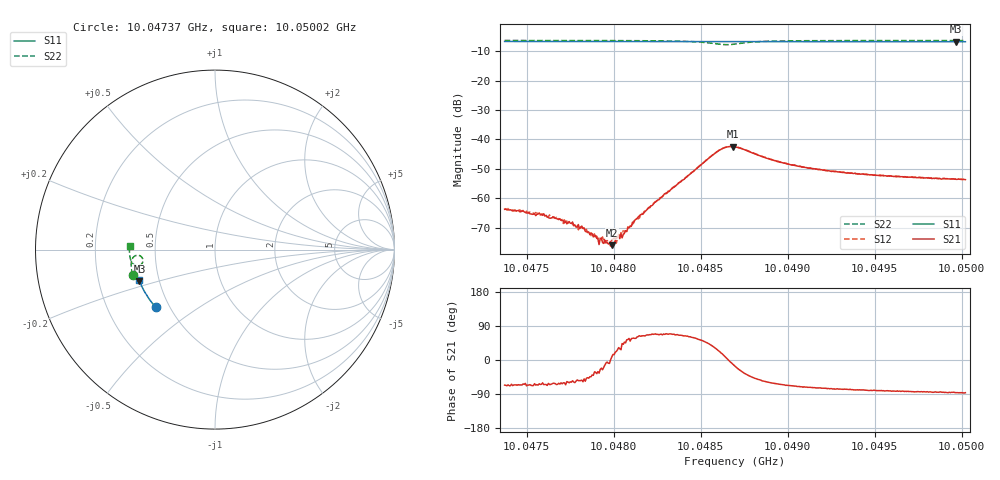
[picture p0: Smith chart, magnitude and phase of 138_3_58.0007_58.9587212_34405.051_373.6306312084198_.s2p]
#  HZ  S  RI  R  50.00
! Rohde & Schwarz Vector Network Analyzer
! Rohde-Schwarz,ZNB20-2Port,1311601062101988,3.16
! Created: UTC 3/21/2024, 12:56:25 AM
! freq[Hz]  re:S11  im:S11  re:S21  im:S21  re:S12  im:S12  re:S22  im:S22
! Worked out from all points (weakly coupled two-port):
!   401 points, 10.04737 GHz to 10.05002 GHz, reference 50 ohm
!   highest |S21| = -42.43 dB at 10.04868 GHz (marker M1); lowest = -76.0 dB at 10.04799 GHz (marker M2)
!   lowest |S11| = -6.8 dB at 10.04997 GHz (marker M3), VSWR 2.67, Z = 19.3 - j8.5 ohm
!   |S11| at or under -10 dB: nowhere
!   |S22| runs from -7.8 to -6.4 dB; largest |S21 - S12| = 0.00054
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1.0047373e10  -0.3315 -0.3193  0.000262 -0.000595  0.000307 -0.000598  -0.4578 -0.1397
1.0047538e10  -0.3389 -0.3109  0.000205 -0.000496  0.000226 -0.000512  -0.4607 -0.1281
1.0047585e10  -0.3408 -0.3085  0.000235 -0.000485  0.000267 -0.000454  -0.4613 -0.1247
1.004773e10  -0.347 -0.3011  0.000201 -0.000309  0.000237 -0.000334  -0.4638 -0.1142
1.0047816e10  -0.3506 -0.2967  0.000202 -0.000269  0.00022 -0.000236  -0.4647 -0.1077
1.0047929e10  -0.3552 -0.2906  0.000195 -7.67e-05  0.000195 -6.67e-05  -0.466 -0.0989
1.0047936e10  -0.3554 -0.2905  0.00016 -7.67e-05  0.000215 -5.3e-05  -0.4661 -0.0984
1.0047969e10  -0.3568 -0.2887  0.000165 -2.44e-05  0.000179 4.79e-07  -0.4664 -0.0956
1.0047989e10  -0.3577 -0.2876  0.000157 2.19e-05  0.000194 4.4e-05  -0.4665 -0.0941
1.0048022e10  -0.3589 -0.2858  0.00019 9.69e-05  0.00019 9.02e-05  -0.4668 -0.0912
1.0048061e10  -0.3605 -0.2838  0.000174 0.000186  0.000183 0.000207  -0.467 -0.0878
1.0048134e10  -0.3635 -0.2799  0.000222 0.000398  0.00019 0.000411  -0.4671 -0.0811
1.004826e10  -0.3681 -0.2729  0.000377 0.000864  0.000325 0.000941  -0.4663 -0.0682
1.0048591e10  -0.3797 -0.2544  0.00534 0.00293  0.00517 0.00325  -0.4176 -0.0346
1.0048637e10  -0.3812 -0.252  0.00711 0.00125  0.00707 0.00166  -0.4031 -0.0508
1.0048684e10  -0.3827 -0.2498  0.00742 -0.00146  0.00754 -0.000937  -0.4045 -0.074
1.0048697e10  -0.3834 -0.2492  0.00715 -0.00212  0.00737 -0.00168  -0.408 -0.0794
1.0048949e10  -0.3921 -0.235  0.00185 -0.00373  0.00208 -0.00367  -0.4634 -0.0711
1.0049141e10  -0.3984 -0.2238  0.000932 -0.00305  0.00112 -0.00298  -0.4718 -0.0504
1.0049584e10  -0.4113 -0.1975  0.000348 -0.00235  0.000476 -0.00235  -0.4763 -0.0136
1.0049968e10  -0.4208 -0.1741  0.000146 -0.00209  0.000248 -0.0021  -0.4765 0.0142
1.0050021e10  -0.4223 -0.1708  0.000135 -0.00207  0.000226 -0.00209  -0.4762 0.0178
